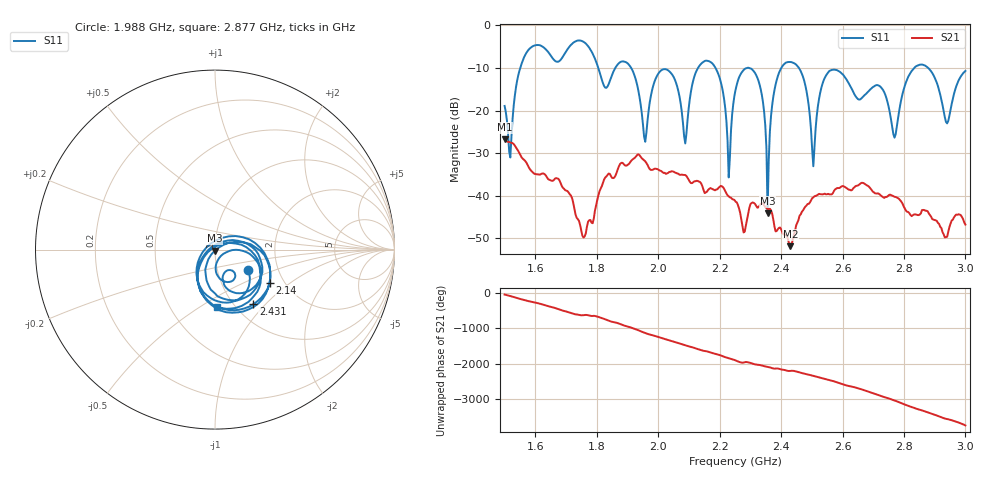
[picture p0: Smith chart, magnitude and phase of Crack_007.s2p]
# HZ S RI R 50
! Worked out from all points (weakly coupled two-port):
!   404 points, 1.5 GHz to 3 GHz, reference 50 ohm
!   highest |S21| = -26.71 dB at 1.5 GHz (marker M1); lowest = -51.9 dB at 2.431 GHz (marker M2)
!   lowest |S11| = -44.1 dB at 2.356 GHz (marker M3), VSWR 1.01, Z = 49.9 - j0.608 ohm
!   |S11| at or under -10 dB: 1.912 GHz to 2.129 GHz (217.3 MHz wide, 10.8 % of centre); 2.458 GHz to 2.833 GHz (375 MHz wide, 14.2 % of centre); 2.879 GHz to end of sweep (the widest 3 of 7)
!   S12 and S22 are empty: the file has one direction only
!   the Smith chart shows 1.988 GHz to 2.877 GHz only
!   S11 on the Smith chart (normalised r, x): 1.988 GHz: 1.40, -0.34; 2.14 GHz: 1.69, -0.71; 2.431 GHz: 1.21, -0.86; 2.877 GHz: 0.83, -0.59
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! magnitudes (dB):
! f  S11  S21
! 1.5 GHz  -18.9  -26.7
! 1.519 GHz  -31.0  -27.5
! 1.586 GHz  -5.2  -34.1
! 1.753 GHz  -3.7  -49.4
! 1.909 GHz  -9.7  -32.1
! 1.958 GHz  -27.3  -31.9
! 1.988 GHz  -13.3  -33.7
! 2.002 GHz  -11.1  -34.0
! 2.088 GHz  -27.7  -35.1
! 2.14 GHz  -9.0  -37.2
! 2.196 GHz  -11.5  -38.2
! 2.23 GHz  -35.7  -40.1
! 2.252 GHz  -15.1  -41.4
! 2.319 GHz  -11.7  -42.4
! 2.356 GHz  -44.1  -43.1
! 2.431 GHz  -8.6  -51.9
! 2.501 GHz  -29.2  -40.6
! 2.565 GHz  -10.5  -39.7
! 2.751 GHz  -19.3  -39.9
! 2.877 GHz  -9.9  -43.7
! 2.94 GHz  -23.0  -49.7
! 3 GHz  -10.7  -46.8
